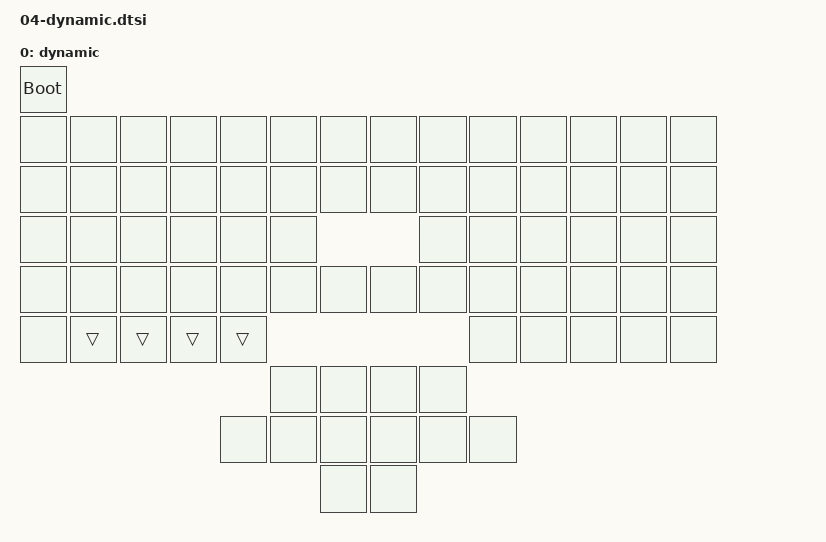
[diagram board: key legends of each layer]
/ {
  keymap {
    compatible = "zmk,keymap";

    // https://zmk.dev/docs/codes

    dynamic { // _DYN
      bindings = <
        &bootloader
        &none        &none        &none        &none        &none         &none       &none             &none          &none         &none        &none        &none        &none         &none
        &none        &none        &none        &none        &none         &none       &none             &none          &none         &none        &none        &none        &none         &none
        &none        &none        &none        &none        &none         &none                                        &none         &none        &none        &none        &none         &none
        &none        &none        &none        &none        &none         &none       &none             &none          &none         &none        &none        &none        &none         &none
        &none        &trans       &trans       &trans       &trans                                                                   &none        &none        &none        &none         &none
                                                                          &none       &none             &none          &none
                                                            &none         &none       &none             &none          &none         &none
                                                                                      &none             &none
      >;
    };
  };
};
